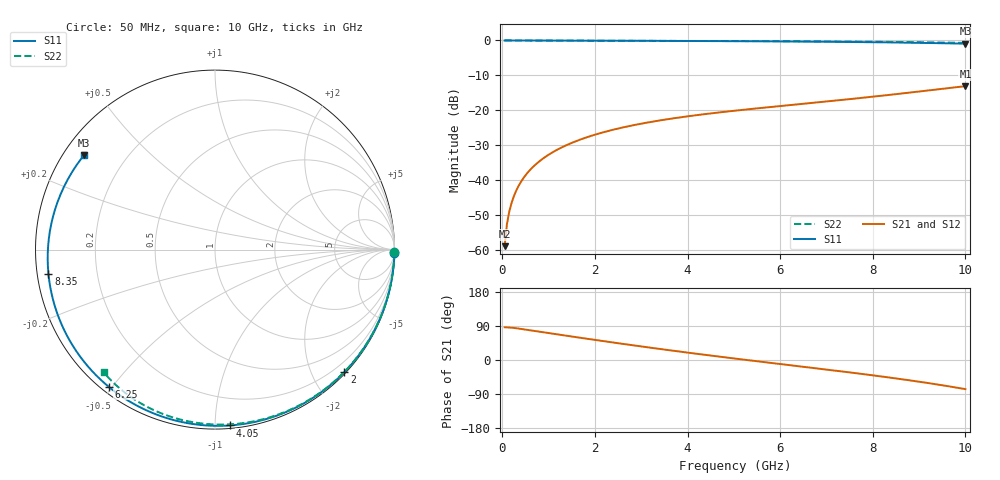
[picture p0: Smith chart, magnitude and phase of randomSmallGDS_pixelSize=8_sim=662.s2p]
! freq	dB(S11)	phase(S11)	dB(S12)	phase(S12)
!  dB(S21)	phase(S21)	dB(S22)	phase(S22)
!S-par simulation data
#  GHz  S  DB  R 50
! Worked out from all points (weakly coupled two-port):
!   200 points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, 50 MHz to 10 GHz, reference 50 ohm
!   highest |S21| = -13.09 dB at 10 GHz (marker M1); lowest = -58.9 dB at 50 MHz (marker M2)
!   lowest |S11| = -0.9 dB at 10 GHz (marker M3), VSWR 18.89, Z = 2.92 + j16.1 ohm
!   |S11| at or under -10 dB: nowhere
!   |S22| runs from -0.7 to 0.0 dB; largest |S21 - S12| = 0
!   S11 on the Smith chart (normalised r, x): 50 MHz: open; 2 GHz: 0.03, -2.51; 4.05 GHz: 0.02, -1.09; 6.25 GHz: 0.02, -0.49; 8.35 GHz: 0.03, -0.07; 10 GHz: 0.06, +0.32
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0.05  -0.00 -1.1  -58.91 86.4  -58.91 86.4  -0.00 -0.8
0.1  -0.00 -2.2  -52.64 86.1  -52.64 86.1  -0.00 -1.5
0.15  -0.00 -3.3  -49.05 85.8  -49.05 85.8  -0.00 -2.3
0.2  -0.00 -4.4  -46.54 85.3  -46.54 85.3  -0.00 -3.1
0.3  -0.01 -6.6  -43.03 83.8  -43.03 83.8  -0.01 -4.6
0.45  -0.01 -9.9  -39.54 81.2  -39.54 81.2  -0.01 -6.9
0.65  -0.02 -14.3  -36.39 77.5  -36.39 77.5  -0.01 -10.0
0.95  -0.03 -20.9  -33.16 72.0  -33.16 72.0  -0.02 -14.5
1.3  -0.04 -28.5  -30.52 65.6  -30.52 65.6  -0.03 -19.8
1.75  -0.05 -38.1  -28.07 57.5  -28.07 57.5  -0.04 -26.6
2  -0.06 -43.4  -26.99 53.0  -26.99 53.0  -0.05 -30.3
2.7  -0.09 -58.0  -24.63 40.9  -24.63 40.9  -0.07 -40.5
3.4  -0.12 -72.3  -22.90 29.2  -22.90 29.2  -0.09 -50.5
4.05  -0.15 -85.2  -21.64 18.7  -21.64 18.7  -0.11 -59.6
5.05  -0.20 -104.6  -20.07 3.4  -20.07 3.4  -0.15 -73.0
6.25  -0.29 -127.8  -18.46 -14.2  -18.46 -14.2  -0.22 -88.3
6.7  -0.34 -136.7  -17.87 -20.8  -17.87 -20.8  -0.25 -93.9
7.55  -0.44 -154.1  -16.74 -33.4  -16.74 -33.4  -0.32 -104.1
8.35  -0.56 -171.7  -15.60 -46.1  -15.60 -46.1  -0.41 -113.5
9.2  -0.72 167.2  -14.31 -60.9  -14.31 -60.9  -0.54 -123.2
9.6  -0.82 156.1  -13.70 -68.6  -13.70 -68.6  -0.61 -127.7
10  -0.92 144.1  -13.09 -76.8  -13.09 -76.8  -0.70 -132.2
